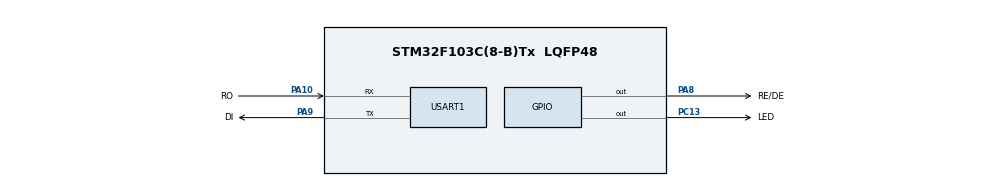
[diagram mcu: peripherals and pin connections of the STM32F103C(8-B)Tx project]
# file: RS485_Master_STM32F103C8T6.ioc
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Mcu.Family=STM32F1
Mcu.Name=STM32F103C(8-B)Tx
Mcu.Package=LQFP48
NVIC.PriorityGroup=NVIC_PRIORITYGROUP_4
PA10.GPIO_Label=RO
PA10.Mode=Asynchronous
PA10.Signal=USART1_RX
PA13.Mode=Serial_Wire
PA13.Signal=SYS_JTMS-SWDIO
PA14.Mode=Serial_Wire
PA14.Signal=SYS_JTCK-SWCLK
PA8.GPIO_Label=RE/DE
PA8.Signal=GPIO_Output
PA9.GPIO_Label=DI
PA9.Mode=Asynchronous
PA9.Signal=USART1_TX
PC13-TAMPER-RTC.GPIO_Label=LED
PC13-TAMPER-RTC.Signal=GPIO_Output
PD0-OSC_IN.Mode=HSE-External-Oscillator
PD0-OSC_IN.Signal=RCC_OSC_IN
PD1-OSC_OUT.Mode=HSE-External-Oscillator
PD1-OSC_OUT.Signal=RCC_OSC_OUT
ProjectManager.HeapSize=0x200
ProjectManager.StackSize=0x400
ProjectManager.TargetToolchain=STM32CubeIDE
RCC.APB1Freq_Value=8000000
RCC.APB2Freq_Value=8000000
USART1.VirtualMode=VM_ASYNC
board=custom

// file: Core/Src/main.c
/* USER CODE BEGIN Header */
/**
  ******************************************************************************
  * @file           : main.c
  * @brief          : Main program body
  ******************************************************************************
  * @attention
  *
  * <h2><center>&copy; Copyright (c) 2020 STMicroelectronics.
  * All rights reserved.</center></h2>
  *
  * This software component is licensed by ST under BSD 3-Clause license,
  * the "License"; You may not use this file except in compliance with the
  * License. You may obtain a copy of the License at:
  *                        opensource.org/licenses/BSD-3-Clause
  *
  ******************************************************************************
  */
/* USER CODE END Header */
#include "main.h"

/* USER CODE BEGIN PM */
typedef enum error {
    SYS_OK, SYS_ERROR, SYS_BUSY, SYS_TIMEOUT
} error_t;

typedef struct sensor_board_handle {
    uint8_t sensorBoardID :5;
    uint8_t pad1_status :1;
    uint8_t pad2_status :1;
    uint8_t beltSensor1_status :1;
    uint8_t beltSensor2_status :1;
    uint8_t error_status;

} sensor_board_handler_t;

sensor_board_handler_t sensor1,sensor2;

int i;

/* USER CODE END PM */

UART_HandleTypeDef huart1;

/* USER CODE BEGIN PV */
uint8_t buffer [6];
uint8_t rx_buffer [6];
/* USER CODE END PV */

void SystemClock_Config(void);
static void MX_GPIO_Init(void);
static void MX_USART1_UART_Init(void);

int main(void)
{

  /* MCU Configuration--------------------------------------------------------*/

  /* Reset of all peripherals, Initializes the Flash interface and the Systick. */
  HAL_Init();

  /* Configure the system clock */
  SystemClock_Config();

  /* Initialize all configured peripherals */
  MX_GPIO_Init();
  MX_USART1_UART_Init();
  /* USER CODE BEGIN 2 */

  sensor1.sensorBoardID=0b10001;
  sensor2.sensorBoardID=0b00001;

  /* USER CODE END 2 */

  /* Infinite loop */
  while (1)
  {

    /* USER CODE BEGIN 3 */

      buffer[0]=sensor1.sensorBoardID;

      HAL_GPIO_WritePin(RE_DE_GPIO_Port, RE_DE_Pin, SET);

      HAL_UART_Transmit(&huart1, buffer, 1,0xFF);

      HAL_GPIO_WritePin(RE_DE_GPIO_Port, RE_DE_Pin, RESET);

      HAL_UART_Receive(&huart1, rx_buffer, 6,0xFF);
          if (rx_buffer[0]== buffer[0])
          {
              HAL_GPIO_WritePin(LED_GPIO_Port, LED_Pin, SET);
      sensor1.sensorBoardID=rx_buffer[0];
      sensor1.pad1_status=rx_buffer[1];
      sensor1.pad2_status=rx_buffer[2];
      sensor1.beltSensor1_status=rx_buffer[3];
      sensor1.beltSensor2_status=rx_buffer[4];
      sensor1.error_status=rx_buffer[5];
      HAL_Delay(50);
      HAL_GPIO_WritePin(LED_GPIO_Port, LED_Pin, RESET);
      HAL_Delay(50);
      rx_buffer[0]=0;
      rx_buffer[1]=0;
      rx_buffer[2]=0;
      rx_buffer[3]=0;
      rx_buffer[4]=0;
      rx_buffer[5]=0;

          }

          HAL_GPIO_WritePin(RE_DE_GPIO_Port, RE_DE_Pin, SET);

          buffer[0]=sensor2.sensorBoardID;
          HAL_UART_Transmit(&huart1, buffer, 1,0xFF);

          HAL_GPIO_WritePin(RE_DE_GPIO_Port, RE_DE_Pin, RESET);

          HAL_UART_Receive(&huart1, rx_buffer, 6,0xFF);
              if (rx_buffer[0]== buffer[0])
              {
                  HAL_GPIO_WritePin(LED_GPIO_Port, LED_Pin, SET);
          sensor2.sensorBoardID=rx_buffer[0];
          sensor2.pad1_status=rx_buffer[1];
          sensor2.pad2_status=rx_buffer[2];
          sensor2.beltSensor1_status=rx_buffer[3];
          sensor2.beltSensor2_status=rx_buffer[4];
          sensor2.error_status=rx_buffer[5];
          HAL_GPIO_WritePin(LED_GPIO_Port, LED_Pin, RESET);
          rx_buffer[0]=0;

              }

  }
  /* USER CODE END 3 */
}

void SystemClock_Config(void)
{
  RCC_OscInitTypeDef RCC_OscInitStruct = {0};
  RCC_ClkInitTypeDef RCC_ClkInitStruct = {0};

  /** Initializes the RCC Oscillators according to the specified parameters
  * in the RCC_OscInitTypeDef structure.
  */
  RCC_OscInitStruct.OscillatorType = RCC_OSCILLATORTYPE_HSI;
  RCC_OscInitStruct.HSIState = RCC_HSI_ON;
  RCC_OscInitStruct.HSICalibrationValue = RCC_HSICALIBRATION_DEFAULT;
  RCC_OscInitStruct.PLL.PLLState = RCC_PLL_NONE;
  if (HAL_RCC_OscConfig(&RCC_OscInitStruct) != HAL_OK)
  {
    Error_Handler();
  }
  /** Initializes the CPU, AHB and APB buses clocks
  */
  RCC_ClkInitStruct.ClockType = RCC_CLOCKTYPE_HCLK|RCC_CLOCKTYPE_SYSCLK
                              |RCC_CLOCKTYPE_PCLK1|RCC_CLOCKTYPE_PCLK2;
  RCC_ClkInitStruct.SYSCLKSource = RCC_SYSCLKSOURCE_HSI;
  RCC_ClkInitStruct.AHBCLKDivider = RCC_SYSCLK_DIV1;
  RCC_ClkInitStruct.APB1CLKDivider = RCC_HCLK_DIV1;
  RCC_ClkInitStruct.APB2CLKDivider = RCC_HCLK_DIV1;

  if (HAL_RCC_ClockConfig(&RCC_ClkInitStruct, FLASH_LATENCY_0) != HAL_OK)
  {
    Error_Handler();
  }
}

static void MX_USART1_UART_Init(void)
{

  huart1.Instance = USART1;
  huart1.Init.BaudRate = 115200;
  huart1.Init.WordLength = UART_WORDLENGTH_8B;
  huart1.Init.StopBits = UART_STOPBITS_1;
  huart1.Init.Parity = UART_PARITY_NONE;
  huart1.Init.Mode = UART_MODE_TX_RX;
  huart1.Init.HwFlowCtl = UART_HWCONTROL_NONE;
  huart1.Init.OverSampling = UART_OVERSAMPLING_16;
  if (HAL_UART_Init(&huart1) != HAL_OK)
  {
    Error_Handler();
  }

}

static void MX_GPIO_Init(void)
{
  GPIO_InitTypeDef GPIO_InitStruct = {0};

  /* GPIO Ports Clock Enable */
  __HAL_RCC_GPIOC_CLK_ENABLE();
  __HAL_RCC_GPIOD_CLK_ENABLE();
  __HAL_RCC_GPIOA_CLK_ENABLE();

  /*Configure GPIO pin Output Level */
  HAL_GPIO_WritePin(LED_GPIO_Port, LED_Pin, GPIO_PIN_RESET);

  /*Configure GPIO pin Output Level */
  HAL_GPIO_WritePin(RE_DE_GPIO_Port, RE_DE_Pin, GPIO_PIN_RESET);

  /*Configure GPIO pin : LED_Pin */
  GPIO_InitStruct.Pin = LED_Pin;
  GPIO_InitStruct.Mode = GPIO_MODE_OUTPUT_PP;
  GPIO_InitStruct.Pull = GPIO_NOPULL;
  GPIO_InitStruct.Speed = GPIO_SPEED_FREQ_LOW;
  HAL_GPIO_Init(LED_GPIO_Port, &GPIO_InitStruct);

  /*Configure GPIO pin : RE_DE_Pin */
  GPIO_InitStruct.Pin = RE_DE_Pin;
  GPIO_InitStruct.Mode = GPIO_MODE_OUTPUT_PP;
  GPIO_InitStruct.Pull = GPIO_NOPULL;
  GPIO_InitStruct.Speed = GPIO_SPEED_FREQ_LOW;
  HAL_GPIO_Init(RE_DE_GPIO_Port, &GPIO_InitStruct);

}

void Error_Handler(void)
{
}

/************************ (C) COPYRIGHT STMicroelectronics *****END OF FILE****/
